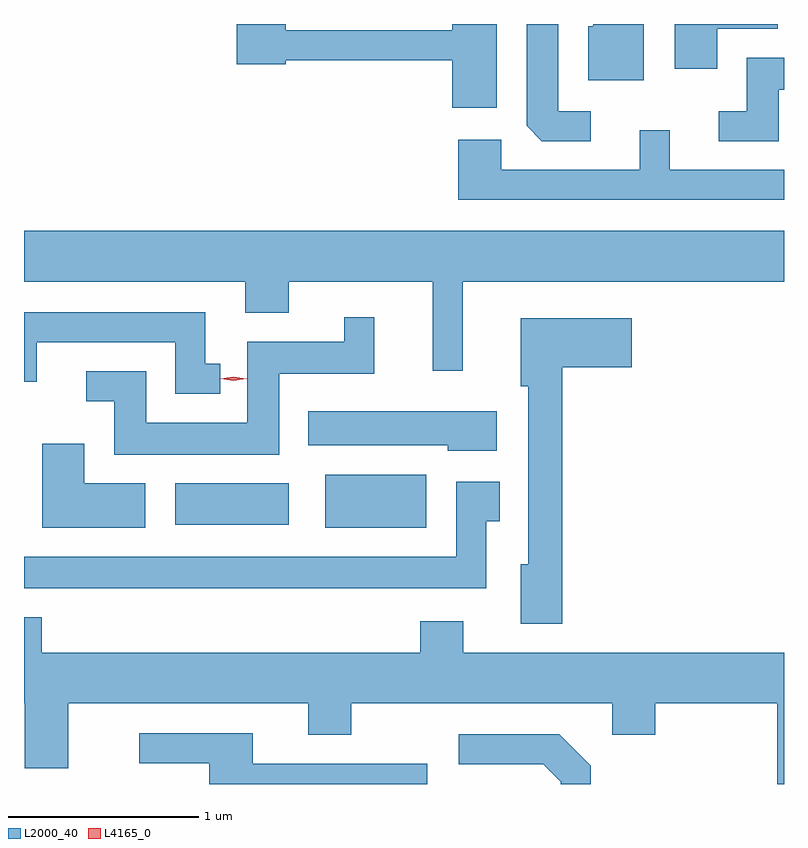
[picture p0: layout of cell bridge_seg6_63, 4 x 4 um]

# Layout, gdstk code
import gdstk
lib = gdstk.Library(unit=1e-6, precision=1e-09)
def R(c, l, rs):  # rectangles x0, y0, x1, y1
    for r in rs: c.add(gdstk.rectangle(r[:2], r[2:], *l))
def P(c, l, *ps):  # polygons
    for p in ps: c.add(gdstk.Polygon(p, *l))
L2000_40 = (2000, 40)
L4165_0 = (4165, 0)

bridge_seg6_63 = lib.new_cell('bridge_seg6_63')
R(bridge_seg6_63, L2000_40, [(1251.361,1619.781,1251.894,1620.059), (1250.571,1619.796,1251.169,1620.014)])
P(bridge_seg6_63, L2000_40, [(1252.758,1621.974),(1252.589,1621.974),(1252.589,1622.432),(1252.421,1622.432),(1252.421,1621.897),(1252.502,1621.816),(1252.758,1621.816)],
  [(1253.039,1622.432),(1252.771,1622.432),(1252.771,1622.419),(1252.746,1622.419),(1252.746,1622.136),(1253.039,1622.136)],
  [(1253.424,1622.406),(1253.744,1622.406),(1253.744,1622.432),(1253.201,1622.432),(1253.201,1622.196),(1253.424,1622.196)],
  [(1252.264,1622.432),(1252.031,1622.432),(1252.031,1622.399),(1251.154,1622.399),(1251.154,1622.432),(1250.896,1622.432),(1250.896,1622.221),(1251.154,1622.221),(1251.154,1622.241),(1252.031,1622.241),(1252.031,1621.991),(1252.264,1621.991)],
  [(1253.749,1622.086),(1253.776,1622.086),(1253.776,1622.254),(1253.581,1622.254),(1253.581,1621.974),(1253.433,1621.974),(1253.433,1621.816),(1253.749,1621.816)],
  [(1253.776,1621.664),(1253.174,1621.664),(1253.174,1621.873),(1253.016,1621.873),(1253.016,1621.664),(1252.289,1621.664),(1252.289,1621.824),(1252.061,1621.824),(1252.061,1621.506),(1253.776,1621.506)],
  [(1252.084,1621.076),(1253.776,1621.076),(1253.776,1621.344),(1249.776,1621.344),(1249.776,1621.076),(1250.941,1621.076),(1250.941,1620.911),(1251.169,1620.911),(1251.169,1621.076),(1251.926,1621.076),(1251.926,1620.608),(1252.084,1620.608)],
  [(1250.808,1620.644),(1250.729,1620.644),(1250.729,1620.914),(1249.776,1620.914),(1249.776,1620.548),(1249.844,1620.548),(1249.844,1620.756),(1250.571,1620.756),(1250.571,1620.486),(1250.808,1620.486)],
  [(1251.119,1620.591),(1251.619,1620.591),(1251.619,1620.888),(1251.461,1620.888),(1251.461,1620.759),(1250.951,1620.759),(1250.951,1620.334),(1250.419,1620.334),(1250.419,1620.604),(1250.103,1620.604),(1250.103,1620.446),(1250.251,1620.446),(1250.251,1620.166),(1251.119,1620.166)],
  [(1252.609,1620.626),(1252.974,1620.626),(1252.974,1620.884),(1252.391,1620.884),(1252.391,1620.526),(1252.431,1620.526),(1252.431,1619.589),(1252.391,1619.589),(1252.391,1619.276),(1252.609,1619.276)],
  [(1252.264,1620.394),(1251.271,1620.394),(1251.271,1620.216),(1252.006,1620.216),(1252.006,1620.186),(1252.264,1620.186)],
  [(1250.414,1620.014),(1250.094,1620.014),(1250.094,1620.224),(1249.871,1620.224),(1249.871,1619.781),(1250.414,1619.781)],
  [(1252.209,1619.816),(1252.279,1619.816),(1252.279,1620.024),(1252.051,1620.024),(1252.051,1619.629),(1249.776,1619.629),(1249.776,1619.461),(1252.209,1619.461)],
  [(1253.776,1619.124),(1252.089,1619.124),(1252.089,1619.289),(1251.861,1619.289),(1251.861,1619.124),(1249.869,1619.124),(1249.869,1619.309),(1249.776,1619.309),(1249.776,1618.856),(1249.781,1618.856),(1249.781,1618.516),(1250.009,1618.516),(1250.009,1618.856),(1251.271,1618.856),(1251.271,1618.691),(1251.499,1618.691),(1251.499,1618.856),(1252.871,1618.856),(1252.871,1618.691),(1253.099,1618.691),(1253.099,1618.856),(1253.741,1618.856),(1253.741,1618.432),(1253.776,1618.432)],
  [(1251.899,1618.539),(1250.979,1618.539),(1250.979,1618.699),(1250.383,1618.699),(1250.383,1618.541),(1250.751,1618.541),(1250.751,1618.432),(1251.899,1618.432)],
  [(1252.759,1618.527),(1252.592,1618.694),(1252.063,1618.694),(1252.063,1618.536),(1252.509,1618.536),(1252.601,1618.444),(1252.601,1618.432),(1252.759,1618.432)])
P(bridge_seg6_63, L4165_0, [(1250.878,1620.555),(1250.809,1620.564),(1250.809,1620.565),(1250.809,1620.565),(1250.878,1620.575),(1250.948,1620.565),(1250.948,1620.564),(1250.948,1620.564)])

lib.write_gds('bridge_seg6_63.gds')
